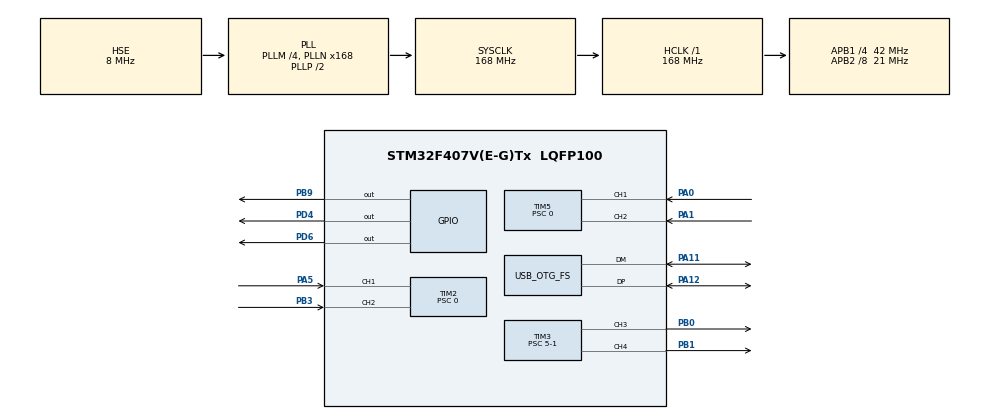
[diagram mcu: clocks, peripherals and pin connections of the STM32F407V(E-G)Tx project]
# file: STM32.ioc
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Mcu.Family=STM32F4
Mcu.Name=STM32F407V(E-G)Tx
Mcu.Package=LQFP100
NVIC.OTG_FS_IRQn=true\:0\:0\:true\:false\:true\:false\:true
NVIC.PriorityGroup=NVIC_PRIORITYGROUP_4
PA0-WKUP.GPIO_PuPd=GPIO_PULLUP
PA0-WKUP.Signal=S_TIM5_CH1
PA1.GPIO_PuPd=GPIO_PULLUP
PA1.Signal=S_TIM5_CH2
PA11.Mode=Device_Only
PA11.Signal=USB_OTG_FS_DM
PA12.Mode=Device_Only
PA12.Signal=USB_OTG_FS_DP
PA13.Mode=Serial_Wire
PA13.Signal=SYS_JTMS-SWDIO
PA14.Mode=Serial_Wire
PA14.Signal=SYS_JTCK-SWCLK
PA5.GPIO_PuPd=GPIO_PULLUP
PA5.Signal=S_TIM2_CH1_ETR
PB0.Signal=S_TIM3_CH3
PB1.Signal=S_TIM3_CH4
PB3.GPIO_PuPd=GPIO_PULLUP
PB3.Signal=S_TIM2_CH2
PB9.Signal=GPIO_Output
PD4.Signal=GPIO_Output
PD6.Signal=GPIO_Output
PH0-OSC_IN.Mode=HSE-External-Oscillator
PH0-OSC_IN.Signal=RCC_OSC_IN
PH1-OSC_OUT.Mode=HSE-External-Oscillator
PH1-OSC_OUT.Signal=RCC_OSC_OUT
ProjectManager.HeapSize=0x200
ProjectManager.StackSize=0x400
ProjectManager.TargetToolchain=STM32CubeIDE
RCC.48MHZClocksFreq_Value=48000000
RCC.AHBFreq_Value=168000000
RCC.APB1CLKDivider=RCC_HCLK_DIV4
RCC.APB1Freq_Value=42000000
RCC.APB1TimFreq_Value=84000000
RCC.APB2CLKDivider=RCC_HCLK_DIV8
RCC.APB2Freq_Value=21000000
RCC.APB2TimFreq_Value=42000000
RCC.CortexFreq_Value=168000000
RCC.HCLKFreq_Value=168000000
RCC.HSE_VALUE=8000000
RCC.HSI_VALUE=16000000
RCC.LSE_VALUE=32768
RCC.PLLM=4
RCC.PLLN=168
RCC.PLLQ=7
RCC.SYSCLKFreq_VALUE=168000000
RCC.SYSCLKSource=RCC_SYSCLKSOURCE_PLLCLK
RCC.VCOOutputFreq_Value=336000000
SH.S_TIM2_CH1_ETR.0=TIM2_CH1,Encoder_Interface
SH.S_TIM2_CH2.0=TIM2_CH2,Encoder_Interface
SH.S_TIM3_CH3.0=TIM3_CH3,PWM Generation3 CH3
SH.S_TIM3_CH4.0=TIM3_CH4,PWM Generation4 CH4
SH.S_TIM5_CH1.0=TIM5_CH1,Encoder_Interface
SH.S_TIM5_CH2.0=TIM5_CH2,Encoder_Interface
TIM2.AutoReloadPreload=TIM_AUTORELOAD_PRELOAD_ENABLE
TIM2.EncoderMode=TIM_ENCODERMODE_TI12
TIM2.IC1Filter=0
TIM2.IC1Polarity=TIM_ICPOLARITY_FALLING
TIM2.IC2Filter=0
TIM2.IC2Polarity=TIM_ICPOLARITY_FALLING
TIM2.Period=0xffffffff
TIM2.Prescaler=0
TIM3.Channel-PWM\ Generation3\ CH3=TIM_CHANNEL_3
TIM3.Channel-PWM\ Generation4\ CH4=TIM_CHANNEL_4
TIM3.Period=280-1
TIM3.Prescaler=5-1
TIM3.Pulse-PWM\ Generation3\ CH3=280-1
TIM3.Pulse-PWM\ Generation4\ CH4=280-1
TIM5.AutoReloadPreload=TIM_AUTORELOAD_PRELOAD_ENABLE
TIM5.EncoderMode=TIM_ENCODERMODE_TI12
TIM5.IC1Filter=0
TIM5.IC1Polarity=TIM_ICPOLARITY_FALLING
TIM5.IC2Filter=0
TIM5.IC2Polarity=TIM_ICPOLARITY_FALLING
TIM5.Period=0xffffffff
TIM5.Prescaler=0
TIM5.TIM_MasterOutputTrigger=TIM_TRGO_RESET
USB_DEVICE.CLASS_NAME_FS=CDC
USB_DEVICE.VirtualMode-CDC_FS=Cdc
USB_DEVICE.VirtualModeFS=Cdc_FS
USB_OTG_FS.VirtualMode=Device_Only
VP_TIM3_VS_ClockSourceINT.Mode=Internal
VP_USB_DEVICE_VS_USB_DEVICE_CDC_FS.Mode=CDC_FS
board=custom

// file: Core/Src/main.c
/* USER CODE BEGIN Header */
/**
  ******************************************************************************
  * @file           : main.c
  * @brief          : Main program body
  ******************************************************************************
  * @attention
  *
  * <h2><center>&copy; Copyright (c) 2021 STMicroelectronics.
  * All rights reserved.</center></h2>
  *
  * This software component is licensed by ST under Ultimate Liberty license
  * SLA0044, the "License"; You may not use this file except in compliance with
  * the License. You may obtain a copy of the License at:
  *                             www.st.com/SLA0044
  *
  ******************************************************************************
  */
/* USER CODE END Header */
#include "main.h"
#include "usb_device.h"

/* USER CODE BEGIN Includes */
#include "Akula.h"
#include "usbd_cdc_if.h"
/* USER CODE END Includes */

TIM_HandleTypeDef htim2;
TIM_HandleTypeDef htim3;
TIM_HandleTypeDef htim5;

void SystemClock_Config(void);
static void MX_GPIO_Init(void);
static void MX_TIM3_Init(void);
static void MX_TIM2_Init(void);
static void MX_TIM5_Init(void);

int main(void)
{

  /* MCU Configuration--------------------------------------------------------*/

  /* Reset of all peripherals, Initializes the Flash interface and the Systick. */
  HAL_Init();

  /* Configure the system clock */
  SystemClock_Config();

  /* Initialize all configured peripherals */
  MX_GPIO_Init();
  MX_USB_DEVICE_Init();
  MX_TIM3_Init();
  MX_TIM2_Init();
  MX_TIM5_Init();
  /* USER CODE BEGIN 2 */

    HAL_TIM_Base_Start(&htim3);
    HAL_TIM_PWM_Start(&htim3,TIM_CHANNEL_3);
    HAL_TIM_PWM_Start(&htim3,TIM_CHANNEL_4);

    __HAL_TIM_SET_COMPARE(&htim3, TIM_CHANNEL_3, 0);
    __HAL_TIM_SET_COMPARE(&htim3, TIM_CHANNEL_4, 0);

    HAL_TIM_Encoder_Start(&htim2, TIM_CHANNEL_ALL);
    HAL_TIM_Encoder_Start(&htim5, TIM_CHANNEL_ALL);

    uint32_t WriteTag           = INVALID;
    uint32_t ReadTag            = INVALID;

    int32_t LeftPWM;
    int32_t RightPWM;

    int LeftMinus = 1;
    int RightMinus = 1;

    uint32_t CurrentTime;
    uint32_t LastEncoderTime = HAL_GetTick();
    uint8_t SendResult;

  /* USER CODE END 2 */

  /* Infinite loop */
  /* USER CODE BEGIN WHILE */
    while (gRunning) {
        if (!gConnected) {
            WriteTag = REQUEST_CONN;
            memcpy(WriteBuffer, &WriteTag, 4);
            CDC_Transmit_FS(WriteBuffer, PACKET_SIZE);
            HAL_Delay(2000);

            if (readSerial(ReadBuffer, PACKET_SIZE)) {
                memcpy(&ReadTag, ReadBuffer, 4);

                if (ReadTag == PING) {
                    WriteTag = PING;
                    memcpy(WriteBuffer, &WriteTag, 4);
                    CDC_Transmit_FS(WriteBuffer, PACKET_SIZE);
                    WriteTag = INVALID;

                    gConnected = 1;
                } else {
                    WriteTag = INVALID;
                    memcpy(WriteBuffer, &WriteTag, 4);
                    memcpy(WriteBuffer + 4, &ReadTag, 4);
                    CDC_Transmit_FS(WriteBuffer, PACKET_SIZE);

                    clearBuffer();
                }

                ReadTag = INVALID;
            }
        } else {
            if (readSerial(ReadBuffer, PACKET_SIZE)) {
                memcpy(&ReadTag, ReadBuffer, 4);

                switch (ReadTag) {
                    case PING:
                        CurrentTime = HAL_GetTick();
                        WriteTag = PING;
                        memcpy(WriteBuffer, &WriteTag, 4);

                        do {
                            SendResult = CDC_Transmit_FS(WriteBuffer, PACKET_SIZE);
                        } while (SendResult == USBD_BUSY && (HAL_GetTick() - CurrentTime) < TimeoutMs);

                        WriteTag = INVALID;

                        break;
                    case JOYSTICK_COORDS:
                        WriteTag = JOYSTICK_COORDS;
                        memcpy(WriteBuffer, &WriteTag, 4);

                        memcpy(&LeftPWM, ReadBuffer + 4, 4);
                        memcpy(&RightPWM, ReadBuffer + 8, 4);

                        if (LeftPWM > MAX_PWM) {
                            LeftPWM = MAX_PWM;
                        }

                        if (LeftPWM < -MAX_PWM) {
                            LeftPWM = -MAX_PWM;
                        }

                        if (RightPWM > MAX_PWM) {
                            RightPWM = MAX_PWM;
                        }

                        if (RightPWM < -MAX_PWM) {
                            RightPWM = -MAX_PWM;
                        }

                        //----------//

                        if (LeftPWM < 0) {
                            if (LeftMinus == 0) {
                                HAL_GPIO_WritePin(GPIOD, GPIO_PIN_6, GPIO_PIN_RESET);
                                LeftMinus = 1;
                            }

                            __HAL_TIM_SET_COMPARE(&htim3, TIM_CHANNEL_3, -LeftPWM);
                        }

                        if (LeftPWM > 0) {
                            if (LeftMinus == 1) {
                                HAL_GPIO_WritePin(GPIOD, GPIO_PIN_6, GPIO_PIN_SET);
                                LeftMinus = 0;
                            }

                            __HAL_TIM_SET_COMPARE(&htim3, TIM_CHANNEL_3, LeftPWM);
                        }

                        if (RightPWM < 0) {
                            if (RightMinus == 0) {
                                HAL_GPIO_WritePin(GPIOD, GPIO_PIN_4, GPIO_PIN_RESET);
                                RightMinus = 1;
                            }

                            __HAL_TIM_SET_COMPARE(&htim3, TIM_CHANNEL_4, -RightPWM);
                        }

                        if (RightPWM > 0) {
                            if (RightMinus == 1) {
                                HAL_GPIO_WritePin(GPIOD, GPIO_PIN_4, GPIO_PIN_SET);
                                RightMinus = 0;
                            }

                            __HAL_TIM_SET_COMPARE(&htim3, TIM_CHANNEL_4, RightPWM);
                        }

                        //----------//

                        if (LeftPWM == 0) {
                            __HAL_TIM_SET_COMPARE(&htim3, TIM_CHANNEL_3, 0);
                        }

                        if (RightPWM == 0) {
                            __HAL_TIM_SET_COMPARE(&htim3, TIM_CHANNEL_4, 0);
                        }

                        //----------//

                        do {
                            SendResult = CDC_Transmit_FS(WriteBuffer, PACKET_SIZE);
                        } while (SendResult == USBD_BUSY && (HAL_GetTick() - CurrentTime) < TimeoutMs);

                        WriteTag = INVALID;

                        break;
                    case LATENCY:
                        WriteTag = LATENCY;
                        memcpy(WriteBuffer, &WriteTag, 4);

                        do {
                            SendResult = CDC_Transmit_FS(WriteBuffer, PACKET_SIZE);
                        } while (SendResult == USBD_BUSY && (HAL_GetTick() - CurrentTime) < TimeoutMs);

                        WriteTag = INVALID;

                        break;
                    case STOP:
                        __HAL_TIM_SET_COMPARE(&htim3, TIM_CHANNEL_3, 0);
                        __HAL_TIM_SET_COMPARE(&htim3, TIM_CHANNEL_4, 0);

                        break;
                    case SHUTDOWN:
                        gRunning = 0;
                        break;
                    default:
                        break;
                }

                ReadTag = INVALID;
            }

            if (HAL_GetTick() - CurrentTime > TimeoutMs) {
                gConnected = 0;
                __HAL_TIM_SET_COMPARE(&htim3, TIM_CHANNEL_3, 0);
                __HAL_TIM_SET_COMPARE(&htim3, TIM_CHANNEL_4, 0);

                continue;
            }

            if (HAL_GetTick() - LastEncoderTime >= 50) {
                LastEncoderTime = HAL_GetTick();

                WriteTag = ENCODER;

                gEncoderLeft = TIM2 -> CNT;
                gEncoderRight = TIM5 -> CNT;

                memcpy(WriteBuffer, &WriteTag, 4);
                memcpy(WriteBuffer + 4, &LastEncoderTime, 4);
                memcpy(WriteBuffer + 8, &gEncoderLeft, 4);
                memcpy(WriteBuffer + 12, &gEncoderRight, 4);

                do {
                    SendResult = CDC_Transmit_FS(WriteBuffer, PACKET_SIZE);
                } while (SendResult == USBD_BUSY && (HAL_GetTick() - CurrentTime) < TimeoutMs);

                WriteTag = INVALID;
            }
        }
    /* USER CODE END WHILE */

    }
}

void SystemClock_Config(void)
{
  RCC_OscInitTypeDef RCC_OscInitStruct = {0};
  RCC_ClkInitTypeDef RCC_ClkInitStruct = {0};

  /** Configure the main internal regulator output voltage
  */
  __HAL_RCC_PWR_CLK_ENABLE();
  __HAL_PWR_VOLTAGESCALING_CONFIG(PWR_REGULATOR_VOLTAGE_SCALE1);
  /** Initializes the RCC Oscillators according to the specified parameters
  * in the RCC_OscInitTypeDef structure.
  */
  RCC_OscInitStruct.OscillatorType = RCC_OSCILLATORTYPE_HSE;
  RCC_OscInitStruct.HSEState = RCC_HSE_ON;
  RCC_OscInitStruct.PLL.PLLState = RCC_PLL_ON;
  RCC_OscInitStruct.PLL.PLLSource = RCC_PLLSOURCE_HSE;
  RCC_OscInitStruct.PLL.PLLM = 4;
  RCC_OscInitStruct.PLL.PLLN = 168;
  RCC_OscInitStruct.PLL.PLLP = RCC_PLLP_DIV2;
  RCC_OscInitStruct.PLL.PLLQ = 7;
  if (HAL_RCC_OscConfig(&RCC_OscInitStruct) != HAL_OK)
  {
    Error_Handler();
  }
  /** Initializes the CPU, AHB and APB buses clocks
  */
  RCC_ClkInitStruct.ClockType = RCC_CLOCKTYPE_HCLK|RCC_CLOCKTYPE_SYSCLK
                              |RCC_CLOCKTYPE_PCLK1|RCC_CLOCKTYPE_PCLK2;
  RCC_ClkInitStruct.SYSCLKSource = RCC_SYSCLKSOURCE_PLLCLK;
  RCC_ClkInitStruct.AHBCLKDivider = RCC_SYSCLK_DIV1;
  RCC_ClkInitStruct.APB1CLKDivider = RCC_HCLK_DIV4;
  RCC_ClkInitStruct.APB2CLKDivider = RCC_HCLK_DIV8;

  if (HAL_RCC_ClockConfig(&RCC_ClkInitStruct, FLASH_LATENCY_5) != HAL_OK)
  {
    Error_Handler();
  }
}

static void MX_TIM2_Init(void)
{

  TIM_Encoder_InitTypeDef sConfig = {0};
  TIM_MasterConfigTypeDef sMasterConfig = {0};

  htim2.Instance = TIM2;
  htim2.Init.Prescaler = 0;
  htim2.Init.CounterMode = TIM_COUNTERMODE_UP;
  htim2.Init.Period = 0xffffffff;
  htim2.Init.ClockDivision = TIM_CLOCKDIVISION_DIV1;
  htim2.Init.AutoReloadPreload = TIM_AUTORELOAD_PRELOAD_ENABLE;
  sConfig.EncoderMode = TIM_ENCODERMODE_TI12;
  sConfig.IC1Polarity = TIM_ICPOLARITY_FALLING;
  sConfig.IC1Selection = TIM_ICSELECTION_DIRECTTI;
  sConfig.IC1Prescaler = TIM_ICPSC_DIV1;
  sConfig.IC1Filter = 0;
  sConfig.IC2Polarity = TIM_ICPOLARITY_FALLING;
  sConfig.IC2Selection = TIM_ICSELECTION_DIRECTTI;
  sConfig.IC2Prescaler = TIM_ICPSC_DIV1;
  sConfig.IC2Filter = 0;
  if (HAL_TIM_Encoder_Init(&htim2, &sConfig) != HAL_OK)
  {
    Error_Handler();
  }
  sMasterConfig.MasterOutputTrigger = TIM_TRGO_RESET;
  sMasterConfig.MasterSlaveMode = TIM_MASTERSLAVEMODE_DISABLE;
  if (HAL_TIMEx_MasterConfigSynchronization(&htim2, &sMasterConfig) != HAL_OK)
  {
    Error_Handler();
  }

}

static void MX_TIM3_Init(void)
{

  TIM_ClockConfigTypeDef sClockSourceConfig = {0};
  TIM_MasterConfigTypeDef sMasterConfig = {0};
  TIM_OC_InitTypeDef sConfigOC = {0};

  htim3.Instance = TIM3;
  htim3.Init.Prescaler = 5-1;
  htim3.Init.CounterMode = TIM_COUNTERMODE_UP;
  htim3.Init.Period = 280-1;
  htim3.Init.ClockDivision = TIM_CLOCKDIVISION_DIV1;
  htim3.Init.AutoReloadPreload = TIM_AUTORELOAD_PRELOAD_DISABLE;
  if (HAL_TIM_Base_Init(&htim3) != HAL_OK)
  {
    Error_Handler();
  }
  sClockSourceConfig.ClockSource = TIM_CLOCKSOURCE_INTERNAL;
  if (HAL_TIM_ConfigClockSource(&htim3, &sClockSourceConfig) != HAL_OK)
  {
    Error_Handler();
  }
  if (HAL_TIM_PWM_Init(&htim3) != HAL_OK)
  {
    Error_Handler();
  }
  sMasterConfig.MasterOutputTrigger = TIM_TRGO_RESET;
  sMasterConfig.MasterSlaveMode = TIM_MASTERSLAVEMODE_DISABLE;
  if (HAL_TIMEx_MasterConfigSynchronization(&htim3, &sMasterConfig) != HAL_OK)
  {
    Error_Handler();
  }
  sConfigOC.OCMode = TIM_OCMODE_PWM1;
  sConfigOC.Pulse = 280-1;
  sConfigOC.OCPolarity = TIM_OCPOLARITY_HIGH;
  sConfigOC.OCFastMode = TIM_OCFAST_DISABLE;
  if (HAL_TIM_PWM_ConfigChannel(&htim3, &sConfigOC, TIM_CHANNEL_3) != HAL_OK)
  {
    Error_Handler();
  }
  if (HAL_TIM_PWM_ConfigChannel(&htim3, &sConfigOC, TIM_CHANNEL_4) != HAL_OK)
  {
    Error_Handler();
  }
  HAL_TIM_MspPostInit(&htim3);

}

static void MX_TIM5_Init(void)
{

  TIM_Encoder_InitTypeDef sConfig = {0};
  TIM_MasterConfigTypeDef sMasterConfig = {0};

  htim5.Instance = TIM5;
  htim5.Init.Prescaler = 0;
  htim5.Init.CounterMode = TIM_COUNTERMODE_UP;
  htim5.Init.Period = 0xffffffff;
  htim5.Init.ClockDivision = TIM_CLOCKDIVISION_DIV1;
  htim5.Init.AutoReloadPreload = TIM_AUTORELOAD_PRELOAD_ENABLE;
  sConfig.EncoderMode = TIM_ENCODERMODE_TI12;
  sConfig.IC1Polarity = TIM_ICPOLARITY_FALLING;
  sConfig.IC1Selection = TIM_ICSELECTION_DIRECTTI;
  sConfig.IC1Prescaler = TIM_ICPSC_DIV1;
  sConfig.IC1Filter = 0;
  sConfig.IC2Polarity = TIM_ICPOLARITY_FALLING;
  sConfig.IC2Selection = TIM_ICSELECTION_DIRECTTI;
  sConfig.IC2Prescaler = TIM_ICPSC_DIV1;
  sConfig.IC2Filter = 0;
  if (HAL_TIM_Encoder_Init(&htim5, &sConfig) != HAL_OK)
  {
    Error_Handler();
  }
  sMasterConfig.MasterOutputTrigger = TIM_TRGO_RESET;
  sMasterConfig.MasterSlaveMode = TIM_MASTERSLAVEMODE_DISABLE;
  if (HAL_TIMEx_MasterConfigSynchronization(&htim5, &sMasterConfig) != HAL_OK)
  {
    Error_Handler();
  }

}

static void MX_GPIO_Init(void)
{
  GPIO_InitTypeDef GPIO_InitStruct = {0};

  /* GPIO Ports Clock Enable */
  __HAL_RCC_GPIOH_CLK_ENABLE();
  __HAL_RCC_GPIOA_CLK_ENABLE();
  __HAL_RCC_GPIOB_CLK_ENABLE();
  __HAL_RCC_GPIOD_CLK_ENABLE();

  /*Configure GPIO pin Output Level */
  HAL_GPIO_WritePin(GPIOD, GPIO_PIN_4|GPIO_PIN_6, GPIO_PIN_RESET);

  /*Configure GPIO pin Output Level */
  HAL_GPIO_WritePin(GPIOB, GPIO_PIN_9, GPIO_PIN_RESET);

  /*Configure GPIO pins : PD4 PD6 */
  GPIO_InitStruct.Pin = GPIO_PIN_4|GPIO_PIN_6;
  GPIO_InitStruct.Mode = GPIO_MODE_OUTPUT_PP;
  GPIO_InitStruct.Pull = GPIO_NOPULL;
  GPIO_InitStruct.Speed = GPIO_SPEED_FREQ_LOW;
  HAL_GPIO_Init(GPIOD, &GPIO_InitStruct);

  /*Configure GPIO pin : PB9 */
  GPIO_InitStruct.Pin = GPIO_PIN_9;
  GPIO_InitStruct.Mode = GPIO_MODE_OUTPUT_PP;
  GPIO_InitStruct.Pull = GPIO_NOPULL;
  GPIO_InitStruct.Speed = GPIO_SPEED_FREQ_LOW;
  HAL_GPIO_Init(GPIOB, &GPIO_InitStruct);

}

void Error_Handler(void)
{
  __disable_irq();
  while (1)
  {
  }
}

/************************ (C) COPYRIGHT STMicroelectronics *****END OF FILE****/
